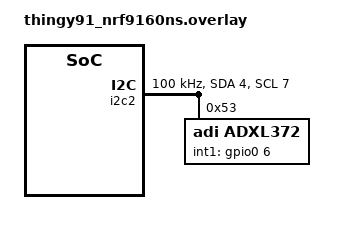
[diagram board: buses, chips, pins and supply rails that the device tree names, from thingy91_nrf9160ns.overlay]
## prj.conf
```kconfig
#
# Copyright (c) 2019 Nordic Semiconductor ASA
#
# SPDX-License-Identifier: LicenseRef-BSD-5-Clause-Nordic
#
# General config
CONFIG_ASSERT=y

# Logging
CONFIG_UART_CONSOLE=y
CONFIG_SERIAL=y

# Stacks and heaps
CONFIG_MAIN_STACK_SIZE=3072
CONFIG_HEAP_MEM_POOL_SIZE=16384

# I2C
CONFIG_I2C=y
CONFIG_I2C_NRFX=y
CONFIG_NRFX_TWIM2=y

# Rebooot
CONFIG_REBOOT=n
```

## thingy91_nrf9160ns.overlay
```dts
&i2c2 {
	compatible = "nordic,nrf-twim";
	status = "okay";
	sda-pin = <4>;
	scl-pin = <7>;
	clock-frequency = <I2C_BITRATE_STANDARD>;
	label = "I2C_2";

	adxl372@53 {
		compatible = "adi,adxl372";
		label = "ADXL372";
		reg = <0x53>;
		int1-gpios = <&gpio0 6 0>;
	};
};

&spi3 {
	status = "disabled";
};
```

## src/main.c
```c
/*
 * Copyright (c) 2018 Nordic Semiconductor ASA
 *
 * SPDX-License-Identifier: LicenseRef-BSD-5-Clause-Nordic
 */

#include <zephyr.h>
#include <stdio.h>
#include <string.h>
#include <stdlib.h>
#include <drivers/i2c.h>
#include <device.h>
#include <nrfx_twim.h>

void main(void)
{
	printk("The I2C scanner started\n");
    const struct device *i2c_dev;
	int error;

    i2c_dev = device_get_binding("I2C_2");
    if (!i2c_dev) {
        printk("Binding failed.");
        return;
    }
	
	/* Demonstration of runtime configuration */
    i2c_configure(i2c_dev, I2C_SPEED_SET(I2C_SPEED_STANDARD));
    printk("Value of NRF_TWIM2_NS->PSEL.SCL : %d \n",NRF_TWIM2_NS->PSEL.SCL);
	printk("Value of NRF_TWIM2_NS->PSEL.SDA : %d \n",NRF_TWIM2_NS->PSEL.SDA);
	printk("Value of NRF_TWIM2_NS->FREQUENCY: %d \n",NRF_TWIM2_NS->FREQUENCY);
	printk("26738688 -> 100k\n");

    for (uint8_t i = 4; i <= 0x7F; i++) {
		struct i2c_msg msgs[1];
		uint8_t dst = 1;

		msgs[0].buf = &dst;
		msgs[0].len = 1U;
		msgs[0].flags = I2C_MSG_WRITE | I2C_MSG_STOP;
		
		error = i2c_transfer(i2c_dev, &msgs[0], 1, i);
		if (error == 0) {
			printk("0x%2x FOUND\n", i);
		}
		else {
			//printk("error %d \n", error);
		}
		
	}
}
```
